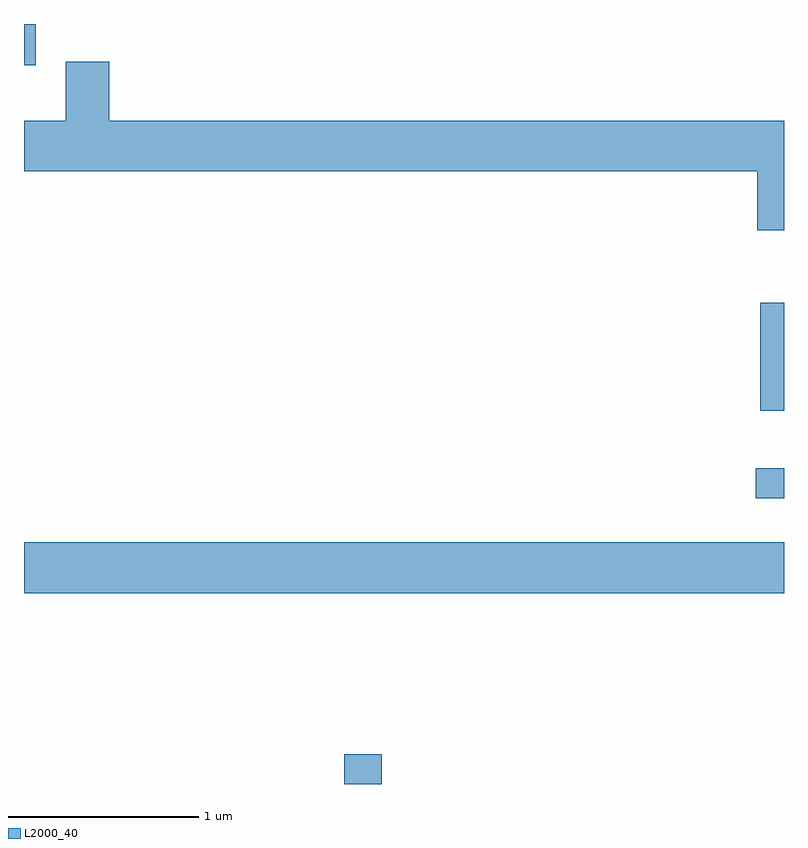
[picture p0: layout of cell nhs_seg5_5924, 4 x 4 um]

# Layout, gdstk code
import gdstk
lib = gdstk.Library(unit=1e-6, precision=1e-09)
def R(c, l, rs):  # rectangles x0, y0, x1, y1
    for r in rs: c.add(gdstk.rectangle(r[:2], r[2:], *l))
def P(c, l, *ps):  # polygons
    for p in ps: c.add(gdstk.Polygon(p, *l))
L2000_40 = (2000, 40)

nhs_seg5_5924 = lib.new_cell('nhs_seg5_5924')
R(nhs_seg5_5924, L2000_40, [(363.296,1398.072,363.494,1398.229), (361.611,1399.076,365.611,1399.344), (365.463,1399.576,365.611,1399.734), (365.486,1400.036,365.611,1400.604), (361.611,1401.856,361.674,1402.072)])
P(nhs_seg5_5924, L2000_40, [(365.611,1401.564),(362.059,1401.564),(362.059,1401.874),(361.831,1401.874),(361.831,1401.564),(361.611,1401.564),(361.611,1401.296),(365.471,1401.296),(365.471,1400.986),(365.611,1400.986)])

lib.write_gds('nhs_seg5_5924.gds')
